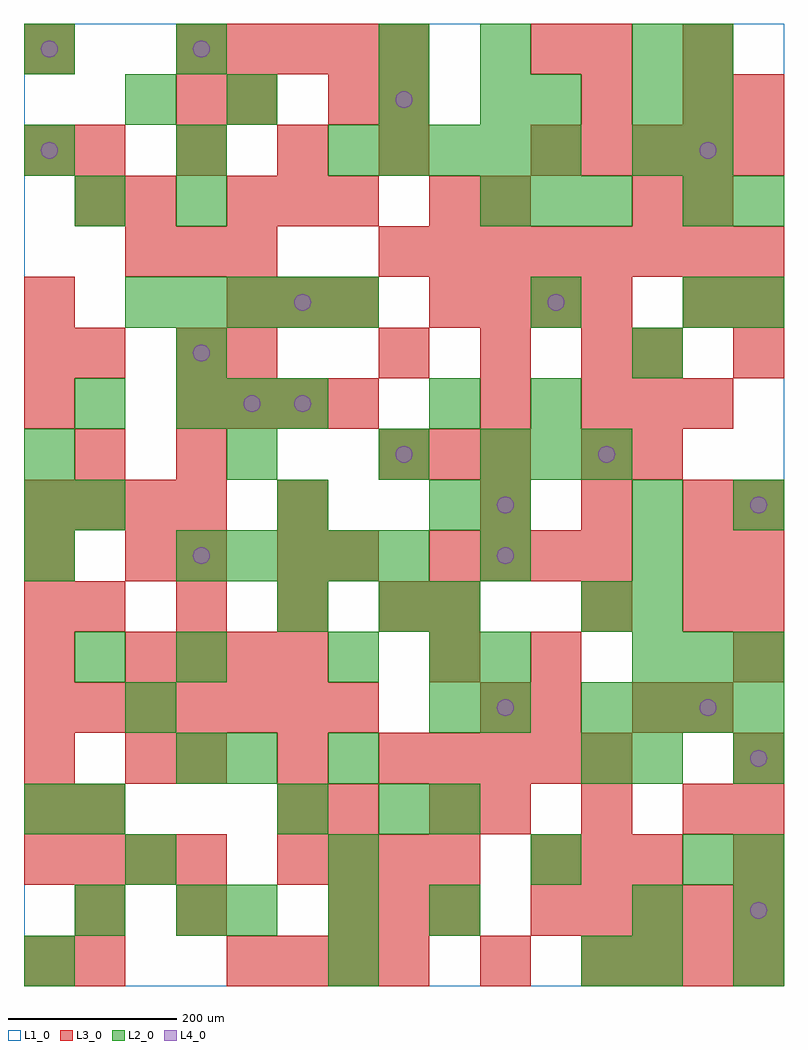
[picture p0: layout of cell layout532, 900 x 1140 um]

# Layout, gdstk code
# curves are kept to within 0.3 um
import gdstk
lib = gdstk.Library(unit=1e-6, precision=1e-09)
def R(c, l, rs):  # rectangles x0, y0, x1, y1
    for r in rs: c.add(gdstk.rectangle(r[:2], r[2:], *l))
def A(c, l, x, y, w, h, nx, ny, dx, dy):  # array of equal rectangles
    R(c, l, [(x+i*dx, y+j*dy, x+i*dx+w, y+j*dy+h) for i in range(nx) for j in range(ny)])
def P(c, l, *ps):  # polygons
    for p in ps: c.add(gdstk.Polygon(p, *l))
L1_0 = (1, 0)
L2_0 = (2, 0)
L3_0 = (3, 0)
L4_0 = (4, 0)

layout532 = lib.new_cell('layout532')
R(layout532, L1_0, [(0,0,900,1140)])
A(layout532, L2_0, 840, 0, 60, 60, 1, 3, 0, 60)
A(layout532, L2_0, 240, 60, 60, 60, 3, 1, 120, 0)
A(layout532, L2_0, 720, 60, 60, 60, 1, 3, 0, 180)
A(layout532, L2_0, 120, 120, 60, 60, 3, 1, 240, 0)
A(layout532, L2_0, 60, 180, 60, 60, 1, 3, 0, 180)
A(layout532, L2_0, 480, 300, 60, 60, 1, 3, 0, 60)
A(layout532, L2_0, 660, 300, 60, 60, 4, 1, 60, 0)
A(layout532, L2_0, 720, 360, 60, 60, 3, 1, 60, 0)
A(layout532, L2_0, 0, 480, 60, 60, 1, 3, 0, 60)
A(layout532, L2_0, 180, 480, 60, 60, 5, 1, 60, 0)
A(layout532, L2_0, 540, 600, 60, 60, 3, 2, 60, 300)
A(layout532, L2_0, 180, 660, 60, 60, 3, 1, 60, 0)
A(layout532, L2_0, 180, 720, 60, 60, 1, 3, 0, 180)
A(layout532, L2_0, 120, 780, 60, 60, 5, 1, 60, 0)
A(layout532, L2_0, 780, 900, 60, 60, 1, 4, 0, 60)
A(layout532, L2_0, 0, 960, 60, 60, 3, 1, 180, 0)
A(layout532, L2_0, 420, 960, 60, 60, 4, 1, 60, 0)
A(layout532, L2_0, 720, 960, 60, 60, 1, 3, 0, 60)
R(layout532, L2_0, [(0,0,60,60), (360,0,420,60), (660,0,720,60), (720,0,780,60), (60,60,120,120), (180,60,240,120), (780,120,840,180), (0,180,60,240), (300,180,360,240), (420,180,480,240), (480,180,540,240), (180,240,240,300), (240,240,300,300), (360,240,420,300), (660,240,720,300), (840,240,900,300), (120,300,180,360), (540,300,600,360), (180,360,240,420), (360,360,420,420), (540,360,600,420), (300,420,360,480), (420,420,480,480), (660,420,720,480), (540,480,600,540), (720,480,780,540), (300,540,360,600), (480,540,540,600), (540,540,600,600), (720,540,780,600), (840,540,900,600), (240,600,300,660), (420,600,480,660), (60,660,120,720), (480,660,540,720), (600,660,660,720), (720,720,780,780), (600,780,660,840), (780,780,840,840), (840,780,900,840), (60,900,120,960), (840,900,900,960), (120,1020,180,1080), (240,1020,300,1080), (420,1020,480,1080), (540,1020,600,1080), (600,1020,660,1080), (0,1080,60,1140), (420,1080,480,1140), (540,1080,600,1140)])
A(layout532, L3_0, 240, 0, 60, 60, 4, 1, 60, 0)
A(layout532, L3_0, 660, 0, 60, 60, 4, 1, 60, 0)
A(layout532, L3_0, 360, 60, 60, 60, 3, 1, 60, 0)
A(layout532, L3_0, 600, 60, 60, 60, 5, 2, 60, 900)
A(layout532, L3_0, 0, 120, 60, 60, 4, 2, 60, 420)
A(layout532, L3_0, 300, 120, 60, 60, 4, 1, 60, 0)
A(layout532, L3_0, 600, 120, 60, 60, 3, 1, 60, 0)
A(layout532, L3_0, 840, 120, 60, 60, 1, 3, 0, 60)
A(layout532, L3_0, 540, 180, 60, 60, 3, 2, 120, 360)
A(layout532, L3_0, 180, 240, 60, 60, 3, 1, 120, 0)
A(layout532, L3_0, 480, 240, 60, 60, 4, 2, 60, 240)
A(layout532, L3_0, 0, 300, 60, 60, 7, 1, 60, 0)
A(layout532, L3_0, 0, 360, 60, 60, 1, 3, 0, 60)
A(layout532, L3_0, 120, 360, 60, 60, 4, 1, 60, 0)
A(layout532, L3_0, 840, 360, 60, 60, 1, 4, 0, 60)
A(layout532, L3_0, 60, 420, 60, 60, 4, 2, 120, 540)
A(layout532, L3_0, 180, 480, 60, 60, 1, 3, 0, 120)
A(layout532, L3_0, 420, 600, 60, 60, 3, 1, 60, 0)
A(layout532, L3_0, 0, 660, 60, 60, 1, 3, 0, 60)
A(layout532, L3_0, 180, 660, 60, 60, 4, 1, 60, 0)
A(layout532, L3_0, 660, 660, 60, 60, 3, 1, 60, 0)
A(layout532, L3_0, 420, 720, 60, 60, 3, 1, 120, 0)
A(layout532, L3_0, 240, 780, 60, 60, 3, 2, 60, 120)
A(layout532, L3_0, 480, 780, 60, 60, 4, 1, 60, 0)
A(layout532, L3_0, 780, 780, 60, 60, 1, 3, 0, 120)
A(layout532, L3_0, 120, 840, 60, 60, 3, 1, 60, 0)
A(layout532, L3_0, 420, 840, 60, 60, 8, 1, 60, 0)
A(layout532, L3_0, 180, 1080, 60, 60, 5, 1, 60, 0)
R(layout532, L3_0, [(0,0,60,60), (60,0,120,60), (540,0,600,60), (60,60,120,120), (180,60,240,120), (0,180,60,240), (60,180,120,240), (300,180,360,240), (360,180,420,240), (480,180,540,240), (0,240,60,300), (120,240,180,300), (540,300,600,360), (600,300,660,360), (720,300,780,360), (780,300,840,360), (480,360,540,420), (600,360,660,420), (480,420,540,480), (660,420,720,480), (780,420,840,480), (120,480,180,540), (300,480,360,540), (360,480,420,540), (780,480,840,540), (300,540,360,600), (60,600,120,660), (660,600,720,660), (720,600,780,660), (540,660,600,720), (60,720,120,780), (240,720,300,780), (720,720,780,780), (840,720,900,780), (840,780,900,840), (60,900,120,960), (120,900,180,960), (480,900,540,960), (540,900,600,960), (720,900,780,960), (0,960,60,1020), (180,1020,240,1080), (240,1020,300,1080), (360,1020,420,1080), (420,1020,480,1080), (660,1020,720,1080), (840,1020,900,1080), (0,1080,60,1140), (600,1080,660,1140), (660,1080,720,1140), (780,1080,840,1140)])
P(layout532, L4_0, [(40,990),(39.239,993.827),(37.071,997.071),(33.827,999.239),(30,1000),(26.173,999.239),(22.929,997.071),(20.761,993.827),(20,990),(20.761,986.173),(22.929,982.929),(26.173,980.761),(30,980),(33.827,980.761),(37.071,982.929),(39.239,986.173)],
  [(40,1110),(39.239,1113.827),(37.071,1117.071),(33.827,1119.239),(30,1120),(26.173,1119.239),(22.929,1117.071),(20.761,1113.827),(20,1110),(20.761,1106.173),(22.929,1102.929),(26.173,1100.761),(30,1100),(33.827,1100.761),(37.071,1102.929),(39.239,1106.173)],
  [(220,510),(219.239,513.827),(217.071,517.071),(213.827,519.239),(210,520),(206.173,519.239),(202.929,517.071),(200.761,513.827),(200,510),(200.761,506.173),(202.929,502.929),(206.173,500.761),(210,500),(213.827,500.761),(217.071,502.929),(219.239,506.173)],
  [(220,750),(219.239,753.827),(217.071,757.071),(213.827,759.239),(210,760),(206.173,759.239),(202.929,757.071),(200.761,753.827),(200,750),(200.761,746.173),(202.929,742.929),(206.173,740.761),(210,740),(213.827,740.761),(217.071,742.929),(219.239,746.173)],
  [(220,1110),(219.239,1113.827),(217.071,1117.071),(213.827,1119.239),(210,1120),(206.173,1119.239),(202.929,1117.071),(200.761,1113.827),(200,1110),(200.761,1106.173),(202.929,1102.929),(206.173,1100.761),(210,1100),(213.827,1100.761),(217.071,1102.929),(219.239,1106.173)],
  [(280,690),(279.239,693.827),(277.071,697.071),(273.827,699.239),(270,700),(266.173,699.239),(262.929,697.071),(260.761,693.827),(260,690),(260.761,686.173),(262.929,682.929),(266.173,680.761),(270,680),(273.827,680.761),(277.071,682.929),(279.239,686.173)],
  [(340,690),(339.239,693.827),(337.071,697.071),(333.827,699.239),(330,700),(326.173,699.239),(322.929,697.071),(320.761,693.827),(320,690),(320.761,686.173),(322.929,682.929),(326.173,680.761),(330,680),(333.827,680.761),(337.071,682.929),(339.239,686.173)],
  [(340,810),(339.239,813.827),(337.071,817.071),(333.827,819.239),(330,820),(326.173,819.239),(322.929,817.071),(320.761,813.827),(320,810),(320.761,806.173),(322.929,802.929),(326.173,800.761),(330,800),(333.827,800.761),(337.071,802.929),(339.239,806.173)],
  [(460,630),(459.239,633.827),(457.071,637.071),(453.827,639.239),(450,640),(446.173,639.239),(442.929,637.071),(440.761,633.827),(440,630),(440.761,626.173),(442.929,622.929),(446.173,620.761),(450,620),(453.827,620.761),(457.071,622.929),(459.239,626.173)],
  [(460,1050),(459.239,1053.827),(457.071,1057.071),(453.827,1059.239),(450,1060),(446.173,1059.239),(442.929,1057.071),(440.761,1053.827),(440,1050),(440.761,1046.173),(442.929,1042.929),(446.173,1040.761),(450,1040),(453.827,1040.761),(457.071,1042.929),(459.239,1046.173)],
  [(580,330),(579.239,333.827),(577.071,337.071),(573.827,339.239),(570,340),(566.173,339.239),(562.929,337.071),(560.761,333.827),(560,330),(560.761,326.173),(562.929,322.929),(566.173,320.761),(570,320),(573.827,320.761),(577.071,322.929),(579.239,326.173)],
  [(580,510),(579.239,513.827),(577.071,517.071),(573.827,519.239),(570,520),(566.173,519.239),(562.929,517.071),(560.761,513.827),(560,510),(560.761,506.173),(562.929,502.929),(566.173,500.761),(570,500),(573.827,500.761),(577.071,502.929),(579.239,506.173)],
  [(580,570),(579.239,573.827),(577.071,577.071),(573.827,579.239),(570,580),(566.173,579.239),(562.929,577.071),(560.761,573.827),(560,570),(560.761,566.173),(562.929,562.929),(566.173,560.761),(570,560),(573.827,560.761),(577.071,562.929),(579.239,566.173)],
  [(640,810),(639.239,813.827),(637.071,817.071),(633.827,819.239),(630,820),(626.173,819.239),(622.929,817.071),(620.761,813.827),(620,810),(620.761,806.173),(622.929,802.929),(626.173,800.761),(630,800),(633.827,800.761),(637.071,802.929),(639.239,806.173)],
  [(700,630),(699.239,633.827),(697.071,637.071),(693.827,639.239),(690,640),(686.173,639.239),(682.929,637.071),(680.761,633.827),(680,630),(680.761,626.173),(682.929,622.929),(686.173,620.761),(690,620),(693.827,620.761),(697.071,622.929),(699.239,626.173)],
  [(820,330),(819.239,333.827),(817.071,337.071),(813.827,339.239),(810,340),(806.173,339.239),(802.929,337.071),(800.761,333.827),(800,330),(800.761,326.173),(802.929,322.929),(806.173,320.761),(810,320),(813.827,320.761),(817.071,322.929),(819.239,326.173)],
  [(820,990),(819.239,993.827),(817.071,997.071),(813.827,999.239),(810,1000),(806.173,999.239),(802.929,997.071),(800.761,993.827),(800,990),(800.761,986.173),(802.929,982.929),(806.173,980.761),(810,980),(813.827,980.761),(817.071,982.929),(819.239,986.173)],
  [(880,90),(879.239,93.827),(877.071,97.071),(873.827,99.239),(870,100),(866.173,99.239),(862.929,97.071),(860.761,93.827),(860,90),(860.761,86.173),(862.929,82.929),(866.173,80.761),(870,80),(873.827,80.761),(877.071,82.929),(879.239,86.173)],
  [(880,270),(879.239,273.827),(877.071,277.071),(873.827,279.239),(870,280),(866.173,279.239),(862.929,277.071),(860.761,273.827),(860,270),(860.761,266.173),(862.929,262.929),(866.173,260.761),(870,260),(873.827,260.761),(877.071,262.929),(879.239,266.173)],
  [(880,570),(879.239,573.827),(877.071,577.071),(873.827,579.239),(870,580),(866.173,579.239),(862.929,577.071),(860.761,573.827),(860,570),(860.761,566.173),(862.929,562.929),(866.173,560.761),(870,560),(873.827,560.761),(877.071,562.929),(879.239,566.173)])

lib.write_gds('layout532.gds')
